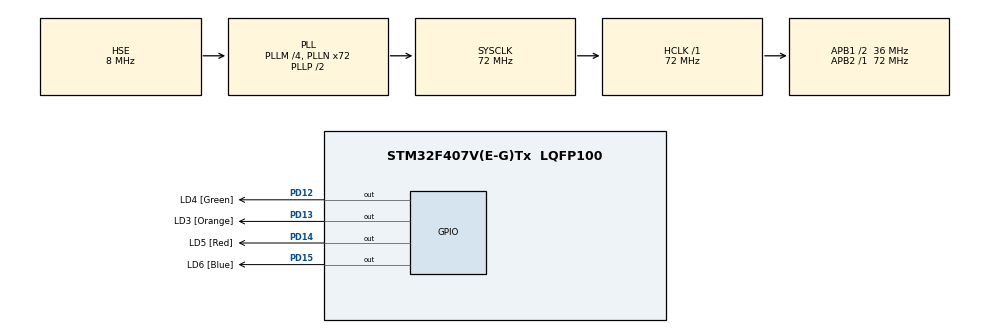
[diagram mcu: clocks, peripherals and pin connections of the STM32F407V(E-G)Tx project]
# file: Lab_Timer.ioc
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Mcu.Family=STM32F4
Mcu.Name=STM32F407V(E-G)Tx
Mcu.Package=LQFP100
NVIC.PriorityGroup=NVIC_PRIORITYGROUP_4
NVIC.TIM2_IRQn=true\:0\:0\:false\:false\:true\:true\:true\:true
PD12.GPIO_Label=LD4 [Green]
PD12.GPIO_Speed=GPIO_SPEED_FREQ_VERY_HIGH
PD12.Signal=GPIO_Output
PD13.GPIO_Label=LD3 [Orange]
PD13.GPIO_Speed=GPIO_SPEED_FREQ_VERY_HIGH
PD13.Signal=GPIO_Output
PD14.GPIO_Label=LD5 [Red]
PD14.GPIO_Speed=GPIO_SPEED_FREQ_VERY_HIGH
PD14.Signal=GPIO_Output
PD15.GPIO_Label=LD6 [Blue]
PD15.GPIO_Speed=GPIO_SPEED_FREQ_VERY_HIGH
PD15.Signal=GPIO_Output
PH0-OSC_IN.Mode=HSE-External-Oscillator
PH0-OSC_IN.Signal=RCC_OSC_IN
PH1-OSC_OUT.Mode=HSE-External-Oscillator
PH1-OSC_OUT.Signal=RCC_OSC_OUT
ProjectManager.HeapSize=0x200
ProjectManager.StackSize=0x400
ProjectManager.TargetToolchain=STM32CubeIDE
RCC.48MHZClocksFreq_Value=36000000
RCC.AHBFreq_Value=72000000
RCC.APB1CLKDivider=RCC_HCLK_DIV2
RCC.APB1Freq_Value=36000000
RCC.APB1TimFreq_Value=72000000
RCC.APB2Freq_Value=72000000
RCC.APB2TimFreq_Value=72000000
RCC.CortexFreq_Value=72000000
RCC.HCLKFreq_Value=72000000
RCC.HSE_VALUE=8000000
RCC.HSI_VALUE=16000000
RCC.LSE_VALUE=32768
RCC.PLLM=4
RCC.PLLN=72
RCC.PLLSourceVirtual=RCC_PLLSOURCE_HSE
RCC.SYSCLKFreq_VALUE=72000000
RCC.SYSCLKSource=RCC_SYSCLKSOURCE_PLLCLK
RCC.VCOOutputFreq_Value=144000000
TIM2.Period=35999
TIM2.Prescaler=1
VP_TIM2_VS_ClockSourceINT.Mode=Internal
board=custom

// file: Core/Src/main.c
/* USER CODE BEGIN Header */
/**
  ******************************************************************************
  * @file           : main.c
  * @brief          : Main program body
  ******************************************************************************
  * @attention
  *
  * Copyright (c) 2023 STMicroelectronics.
  * All rights reserved.
  *
  * This software is licensed under terms that can be found in the LICENSE file
  * in the root directory of this software component.
  * If no LICENSE file comes with this software, it is provided AS-IS.
  *
  ******************************************************************************
  */
/* USER CODE END Header */
#include "main.h"
#include "tim.h"
#include "gpio.h"

void SystemClock_Config(void);

/* USER CODE BEGIN 0 */
/**
  * @brief  The application entry point.
  * @retval int
  */
int main(void) {
  HAL_Init();
  SystemClock_Config();
  MX_TIM2_Init();
  HAL_TIM_Base_Start_IT(&htim2);
  MX_GPIO_Init();
  while (1) {
    timer2_wait_millisec(1000);

    gpio_led_state(1, 1);
    gpio_led_state(2, 1);
    gpio_led_state(3, 0);
    gpio_led_state(4, 0);

    timer2_wait_millisec(1000);

    gpio_led_state(1, 0);
    gpio_led_state(2, 0);
    gpio_led_state(3, 1);
    gpio_led_state(4, 1);
  }
}

/* USER CODE END 0 */

void SystemClock_Config(void)
{
  RCC_OscInitTypeDef RCC_OscInitStruct = {0};
  RCC_ClkInitTypeDef RCC_ClkInitStruct = {0};

  /** Configure the main internal regulator output voltage
  */
  __HAL_RCC_PWR_CLK_ENABLE();
  __HAL_PWR_VOLTAGESCALING_CONFIG(PWR_REGULATOR_VOLTAGE_SCALE1);

  /** Initializes the RCC Oscillators according to the specified parameters
  * in the RCC_OscInitTypeDef structure.
  */
  RCC_OscInitStruct.OscillatorType = RCC_OSCILLATORTYPE_HSE;
  RCC_OscInitStruct.HSEState = RCC_HSE_ON;
  RCC_OscInitStruct.PLL.PLLState = RCC_PLL_ON;
  RCC_OscInitStruct.PLL.PLLSource = RCC_PLLSOURCE_HSE;
  RCC_OscInitStruct.PLL.PLLM = 4;
  RCC_OscInitStruct.PLL.PLLN = 72;
  RCC_OscInitStruct.PLL.PLLP = RCC_PLLP_DIV2;
  RCC_OscInitStruct.PLL.PLLQ = 4;
  if (HAL_RCC_OscConfig(&RCC_OscInitStruct) != HAL_OK)
  {
    Error_Handler();
  }

  /** Initializes the CPU, AHB and APB buses clocks
  */
  RCC_ClkInitStruct.ClockType = RCC_CLOCKTYPE_HCLK|RCC_CLOCKTYPE_SYSCLK
                              |RCC_CLOCKTYPE_PCLK1|RCC_CLOCKTYPE_PCLK2;
  RCC_ClkInitStruct.SYSCLKSource = RCC_SYSCLKSOURCE_PLLCLK;
  RCC_ClkInitStruct.AHBCLKDivider = RCC_SYSCLK_DIV1;
  RCC_ClkInitStruct.APB1CLKDivider = RCC_HCLK_DIV2;
  RCC_ClkInitStruct.APB2CLKDivider = RCC_HCLK_DIV1;

  if (HAL_RCC_ClockConfig(&RCC_ClkInitStruct, FLASH_LATENCY_2) != HAL_OK)
  {
    Error_Handler();
  }
}

void Error_Handler(void)
{
  __disable_irq();
  while (1)
  {
  }
}
